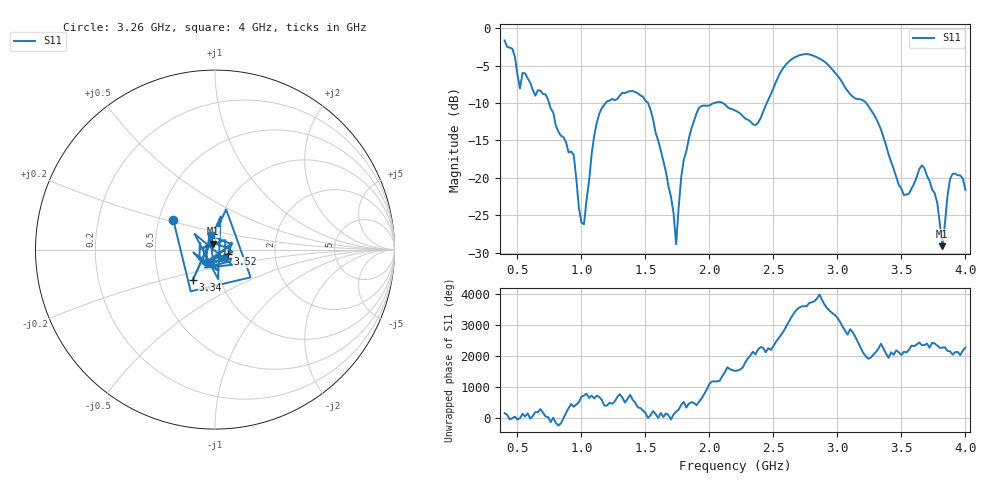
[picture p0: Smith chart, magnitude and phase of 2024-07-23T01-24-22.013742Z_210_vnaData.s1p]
!Created with skrf (http://scikit-rf.org).
# Hz S RI R 50.0
!freq ReS11 ImS11
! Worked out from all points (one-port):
!   181 points, 400 MHz to 4 GHz, reference 50 ohm
!   lowest |S11| = -29.1 dB at 3.82 GHz (marker M1), VSWR 1.07, Z = 48.7 + j3.19 ohm
!   |S11| at or under -10 dB: 747.3 MHz to 1.19 GHz (442.2 MHz wide, 45.7 % of centre); 1.521 GHz to 2.037 GHz (516.2 MHz wide, 29 % of centre); 3.225 GHz to end of sweep (the widest 3 of 4)
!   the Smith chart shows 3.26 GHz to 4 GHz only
!   S11 on the Smith chart (normalised r, x): 3.26 GHz: 0.59, +0.22; 3.34 GHz: 0.74, -0.26; 3.52 GHz: 1.15, -0.06; 4 GHz: 0.94, +0.15
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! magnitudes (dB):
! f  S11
! 400 MHz  -1.6
! 520 MHz  -8.0
! 720 MHz  -8.8
! 860 MHz  -14.6
! 940 MHz  -16.9
! 980 MHz  -23.9
! 1.02 GHz  -26.2
! 1.14 GHz  -11.4
! 1.3 GHz  -9.0
! 1.52 GHz  -10.0
! 1.7 GHz  -22.6
! 1.74 GHz  -28.9
! 1.76 GHz  -23.9
! 1.8 GHz  -17.6
! 1.92 GHz  -10.6
! 2.2 GHz  -11.0
! 2.38 GHz  -12.6
! 2.66 GHz  -3.9
! 3.1 GHz  -8.8
! 3.26 GHz  -10.9
! 3.34 GHz  -13.5
! 3.52 GHz  -22.3
! 3.56 GHz  -22.1
! 3.68 GHz  -18.7
! 3.78 GHz  -23.3
! 3.82 GHz  -29.1
! 3.88 GHz  -20.2
! 4 GHz  -21.6
